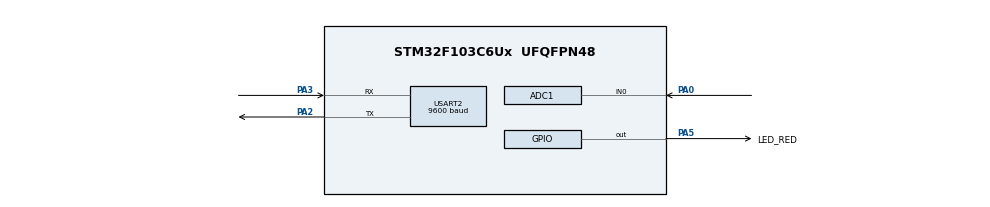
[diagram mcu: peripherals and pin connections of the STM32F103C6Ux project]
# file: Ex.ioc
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ADC1.Channel-0\#ChannelRegularConversion=ADC_CHANNEL_0
ADC1.ContinuousConvMode=ENABLE
ADC1.NbrOfConversionFlag=1
ADC1.Rank-0\#ChannelRegularConversion=1
ADC1.SamplingTime-0\#ChannelRegularConversion=ADC_SAMPLETIME_1CYCLE_5
ADC1.master=1
Mcu.Family=STM32F1
Mcu.Name=STM32F103C6Ux
Mcu.Package=UFQFPN48
NVIC.PriorityGroup=NVIC_PRIORITYGROUP_4
NVIC.TIM2_IRQn=true\:0\:0\:false\:false\:true\:true\:true
NVIC.USART2_IRQn=true\:0\:0\:false\:false\:true\:true\:true
PA0-WKUP.Signal=ADCx_IN0
PA2.Mode=Asynchronous
PA2.Signal=USART2_TX
PA3.Mode=Asynchronous
PA3.Signal=USART2_RX
PA5.GPIO_Label=LED_RED
PA5.Signal=GPIO_Output
ProjectManager.HeapSize=0x200
ProjectManager.StackSize=0x400
ProjectManager.TargetToolchain=STM32CubeIDE
RCC.APB1Freq_Value=8000000
RCC.APB2Freq_Value=8000000
SH.ADCx_IN0.0=ADC1_IN0,IN0
USART2.BaudRate=9600
USART2.VirtualMode=VM_ASYNC
VP_SYS_VS_ND.Mode=No_Debug
VP_TIM2_VS_ClockSourceINT.Mode=Internal
board=custom

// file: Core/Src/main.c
/* USER CODE BEGIN Header */
/**
  ******************************************************************************
  * @file           : main.c
  * @brief          : Main program body
  ******************************************************************************
  * @attention
  *
  * <h2><center>&copy; Copyright (c) 2023 STMicroelectronics.
  * All rights reserved.</center></h2>
  *
  * This software component is licensed by ST under BSD 3-Clause license,
  * the "License"; You may not use this file except in compliance with the
  * License. You may obtain a copy of the License at:
  *                        opensource.org/licenses/BSD-3-Clause
  *
  ******************************************************************************
  */
/* USER CODE END Header */
#include "main.h"
#include <string.h>
#include <stdio.h>

ADC_HandleTypeDef hadc1;

TIM_HandleTypeDef htim2;

UART_HandleTypeDef huart2;

void SystemClock_Config(void);
static void MX_GPIO_Init(void);
static void MX_ADC1_Init(void);
static void MX_USART2_UART_Init(void);
static void MX_TIM2_Init(void);

/* USER CODE BEGIN 0 */
# define MAX_BUFFER_SIZE 30
uint8_t temp = 0;
uint8_t buffer [ MAX_BUFFER_SIZE ];
uint8_t index_buffer = 0;
uint8_t buffer_flag = 0;
uint8_t command_flag = 0;
int counter1 = 0;
int counter1_flag = 0;

void setTimer1(int duration) {
	counter1 = duration/10;
	counter1_flag=0;
}
int counter2 = 0;
int counter2_flag = 0;

void setTimer2(int duration) {
	counter2 = duration/10;
	counter2_flag=0;
}
void timerRun() {
	if(counter1>0)
	{
		counter1--;
		if(counter1<=0)
		{
			counter1_flag=1;
		}
	}
	if(counter2>0)
	{
		counter2--;
		if(counter2<=0)
		{
			counter2_flag=1;
		}
	}
}
void HAL_UART_RxCpltCallback(UART_HandleTypeDef *huart){
	if(huart->Instance == USART2){
		buffer[ index_buffer++] = temp ;
		if( index_buffer == 30) index_buffer = 0;
		buffer_flag = 1;
		HAL_UART_Receive_IT(&huart2, &temp, 1);
	}
}
void command_parser_fsm(void) {
	uint8_t checkSym = 0;
	uint8_t string1[5] = "!RST#";
	uint8_t string2[4] = "!OK#";
	for(uint8_t i=0;i<30;i++){
        if (buffer[i] == '!') {
            checkSym = i;
            break;
        }
	}
	uint8_t result = 1;
	for(uint8_t i=0;i<5;i++){
		if(buffer[checkSym + i] != string1[i]){
			result = 0;
			break;
		}
	}
	if(result == 1){
		for(uint8_t i = 0;i<MAX_BUFFER_SIZE;i++){
			buffer[i] = 0x00;
		}
		command_flag = 1;
		result = 0;
	}else result=1;

	if(result ==1){
		result = 2;
		for(uint8_t i=0;i<4;i++){
			if(buffer[checkSym + i] != string2[i]){
				result = 0;
				break;
			}
		}
	}

	if(result == 2){
		command_flag = 2;
		for(uint8_t i = 0;i<MAX_BUFFER_SIZE;i++){
			buffer[i] = 0x00;
		}
	}
}
void uart_communication_fsm(void) {
	if (counter1_flag==1 && command_flag == 1 ){
		uint16_t ADC_value = HAL_ADC_GetValue(&hadc1);
		char ADC_string[11];
		sprintf ( ADC_string , "!ADC=%04u#" , ADC_value ) ;
		HAL_UART_Transmit (&huart2 , (uint8_t*)ADC_string , sizeof (ADC_string ) , 500) ;
		setTimer1(3000);
		}
	else if( command_flag == 2 ){
		char ADC_string[] = "Start closing in 3s";
		HAL_UART_Transmit (&huart2 , (uint8_t*)ADC_string ,sizeof (ADC_string) , 100) ;
		command_flag =0;
	}
}

/* USER CODE END 0 */

int main(void)
{

  /* MCU Configuration--------------------------------------------------------*/

  /* Reset of all peripherals, Initializes the Flash interface and the Systick. */
  HAL_Init();

  /* Configure the system clock */
  SystemClock_Config();

  /* Initialize all configured peripherals */
  MX_GPIO_Init();
  MX_ADC1_Init();
  MX_USART2_UART_Init();
  MX_TIM2_Init();
  /* USER CODE BEGIN 2 */
  HAL_TIM_Base_Start_IT(&htim2);
  HAL_ADC_Start(&hadc1);
  HAL_UART_Receive_IT(&huart2, &temp, 1);
  /* USER CODE END 2 */

  /* Infinite loop */
  /* USER CODE BEGIN WHILE */
	setTimer1(1000);
	setTimer2(1000);
  while (1)
  {
      if(counter2_flag==1){
	  setTimer2(1000);
	  HAL_GPIO_TogglePin(LED_RED_GPIO_Port, LED_RED_Pin);
      }
      if (buffer_flag == 1) {
          command_parser_fsm();
          buffer_flag = 0;
      }
      uart_communication_fsm();
    /* USER CODE END WHILE */

  }
}

void SystemClock_Config(void)
{
  RCC_OscInitTypeDef RCC_OscInitStruct = {0};
  RCC_ClkInitTypeDef RCC_ClkInitStruct = {0};
  RCC_PeriphCLKInitTypeDef PeriphClkInit = {0};

  /** Initializes the RCC Oscillators according to the specified parameters
  * in the RCC_OscInitTypeDef structure.
  */
  RCC_OscInitStruct.OscillatorType = RCC_OSCILLATORTYPE_HSI;
  RCC_OscInitStruct.HSIState = RCC_HSI_ON;
  RCC_OscInitStruct.HSICalibrationValue = RCC_HSICALIBRATION_DEFAULT;
  RCC_OscInitStruct.PLL.PLLState = RCC_PLL_NONE;
  if (HAL_RCC_OscConfig(&RCC_OscInitStruct) != HAL_OK)
  {
    Error_Handler();
  }
  /** Initializes the CPU, AHB and APB buses clocks
  */
  RCC_ClkInitStruct.ClockType = RCC_CLOCKTYPE_HCLK|RCC_CLOCKTYPE_SYSCLK
                              |RCC_CLOCKTYPE_PCLK1|RCC_CLOCKTYPE_PCLK2;
  RCC_ClkInitStruct.SYSCLKSource = RCC_SYSCLKSOURCE_HSI;
  RCC_ClkInitStruct.AHBCLKDivider = RCC_SYSCLK_DIV1;
  RCC_ClkInitStruct.APB1CLKDivider = RCC_HCLK_DIV1;
  RCC_ClkInitStruct.APB2CLKDivider = RCC_HCLK_DIV1;

  if (HAL_RCC_ClockConfig(&RCC_ClkInitStruct, FLASH_LATENCY_0) != HAL_OK)
  {
    Error_Handler();
  }
  PeriphClkInit.PeriphClockSelection = RCC_PERIPHCLK_ADC;
  PeriphClkInit.AdcClockSelection = RCC_ADCPCLK2_DIV2;
  if (HAL_RCCEx_PeriphCLKConfig(&PeriphClkInit) != HAL_OK)
  {
    Error_Handler();
  }
}

static void MX_ADC1_Init(void)
{

  ADC_ChannelConfTypeDef sConfig = {0};

  /** Common config
  */
  hadc1.Instance = ADC1;
  hadc1.Init.ScanConvMode = ADC_SCAN_DISABLE;
  hadc1.Init.ContinuousConvMode = ENABLE;
  hadc1.Init.DiscontinuousConvMode = DISABLE;
  hadc1.Init.ExternalTrigConv = ADC_SOFTWARE_START;
  hadc1.Init.DataAlign = ADC_DATAALIGN_RIGHT;
  hadc1.Init.NbrOfConversion = 1;
  if (HAL_ADC_Init(&hadc1) != HAL_OK)
  {
    Error_Handler();
  }
  /** Configure Regular Channel
  */
  sConfig.Channel = ADC_CHANNEL_0;
  sConfig.Rank = ADC_REGULAR_RANK_1;
  sConfig.SamplingTime = ADC_SAMPLETIME_1CYCLE_5;
  if (HAL_ADC_ConfigChannel(&hadc1, &sConfig) != HAL_OK)
  {
    Error_Handler();
  }

}

static void MX_TIM2_Init(void)
{

  TIM_ClockConfigTypeDef sClockSourceConfig = {0};
  TIM_MasterConfigTypeDef sMasterConfig = {0};

  htim2.Instance = TIM2;
  htim2.Init.Prescaler = 0;
  htim2.Init.CounterMode = TIM_COUNTERMODE_UP;
  htim2.Init.Period = 65535;
  htim2.Init.ClockDivision = TIM_CLOCKDIVISION_DIV1;
  htim2.Init.AutoReloadPreload = TIM_AUTORELOAD_PRELOAD_DISABLE;
  if (HAL_TIM_Base_Init(&htim2) != HAL_OK)
  {
    Error_Handler();
  }
  sClockSourceConfig.ClockSource = TIM_CLOCKSOURCE_INTERNAL;
  if (HAL_TIM_ConfigClockSource(&htim2, &sClockSourceConfig) != HAL_OK)
  {
    Error_Handler();
  }
  sMasterConfig.MasterOutputTrigger = TIM_TRGO_RESET;
  sMasterConfig.MasterSlaveMode = TIM_MASTERSLAVEMODE_DISABLE;
  if (HAL_TIMEx_MasterConfigSynchronization(&htim2, &sMasterConfig) != HAL_OK)
  {
    Error_Handler();
  }

}

static void MX_USART2_UART_Init(void)
{

  huart2.Instance = USART2;
  huart2.Init.BaudRate = 9600;
  huart2.Init.WordLength = UART_WORDLENGTH_8B;
  huart2.Init.StopBits = UART_STOPBITS_1;
  huart2.Init.Parity = UART_PARITY_NONE;
  huart2.Init.Mode = UART_MODE_TX_RX;
  huart2.Init.HwFlowCtl = UART_HWCONTROL_NONE;
  huart2.Init.OverSampling = UART_OVERSAMPLING_16;
  if (HAL_UART_Init(&huart2) != HAL_OK)
  {
    Error_Handler();
  }

}

static void MX_GPIO_Init(void)
{
  GPIO_InitTypeDef GPIO_InitStruct = {0};

  /* GPIO Ports Clock Enable */
  __HAL_RCC_GPIOA_CLK_ENABLE();

  /*Configure GPIO pin Output Level */
  HAL_GPIO_WritePin(LED_RED_GPIO_Port, LED_RED_Pin, GPIO_PIN_RESET);

  /*Configure GPIO pin : LED_RED_Pin */
  GPIO_InitStruct.Pin = LED_RED_Pin;
  GPIO_InitStruct.Mode = GPIO_MODE_OUTPUT_PP;
  GPIO_InitStruct.Pull = GPIO_NOPULL;
  GPIO_InitStruct.Speed = GPIO_SPEED_FREQ_LOW;
  HAL_GPIO_Init(LED_RED_GPIO_Port, &GPIO_InitStruct);

}

/* USER CODE BEGIN 4 */
void HAL_TIM_PeriodElapsedCallback ( TIM_HandleTypeDef * htim ){
	timerRun();
}
/* USER CODE END 4 */

void Error_Handler(void)
{
  __disable_irq();
  while (1)
  {
  }
}

/************************ (C) COPYRIGHT STMicroelectronics *****END OF FILE****/
